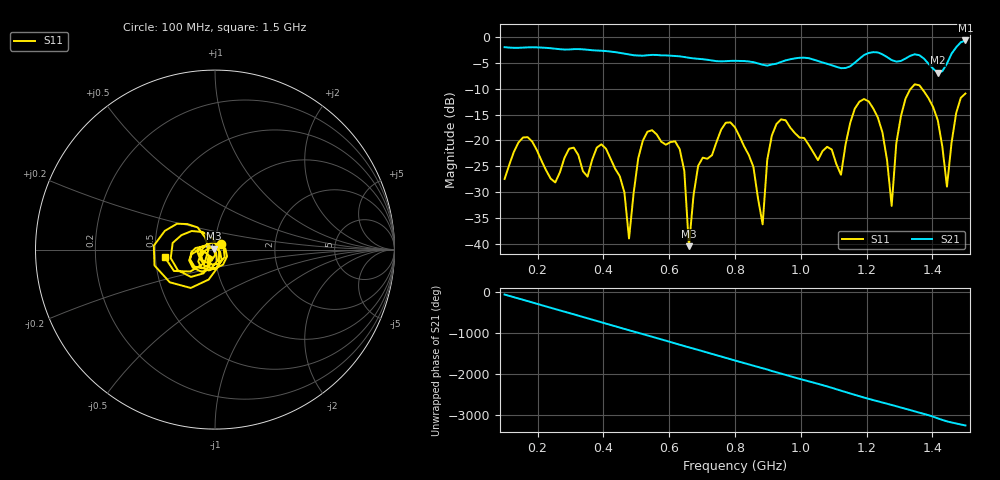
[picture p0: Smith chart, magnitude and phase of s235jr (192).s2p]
! NanoVNA-App
! Date: 2025-09-25 15:05:39
! Start: 100MHz Stop: 1,5GHz Points: 101
! S-Parameter data: F S11 S21 S12 S22
# Hz S RI R 50
!  Frequency  S11_Real  S11_Imag  S21_Real  S21_Imag  S12_Real  S12_Imag  S22_Real  S22_Imag
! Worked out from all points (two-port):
!   101 points, 100 MHz to 1.5 GHz, reference 50 ohm
!   highest |S21| = -0.66 dB at 1.5 GHz (marker M1); lowest = -6.9 dB at 1.416 GHz (marker M2)
!   |S21| within 3 dB of the highest: start of sweep to 616.4 MHz; 1.189 GHz to 1.256 GHz (67.67 MHz wide, 5.54 % of centre) (the widest 2 of 4)
!   lowest |S11| = -40.5 dB at 660 MHz (marker M3), VSWR 1.02, Z = 49.3 + j0.585 ohm
!   |S11| at or under -10 dB: start of sweep to 1.334 GHz; 1.368 GHz to end of sweep
!   S12 and S22 are empty: the file has one direction only
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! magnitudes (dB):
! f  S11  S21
! 100 MHz  -27.5  -2.0
! 156 MHz  -19.4  -2.0
! 338 MHz  -26.0  -2.4
! 408 MHz  -21.6  -2.7
! 478 MHz  -39.0  -3.4
! 520 MHz  -20.0  -3.6
! 576 MHz  -20.3  -3.5
! 632 MHz  -21.7  -3.7
! 660 MHz  -40.5  -4.0
! 688 MHz  -24.9  -4.2
! 800 MHz  -17.5  -4.6
! 884 MHz  -36.3  -5.4
! 926 MHz  -16.8  -5.2
! 1.038 GHz  -22.3  -4.4
! 1.122 GHz  -26.7  -6.0
! 1.206 GHz  -12.4  -3.1
! 1.276 GHz  -32.7  -4.5
! 1.29 GHz  -20.6  -4.7
! 1.332 GHz  -10.1  -3.6
! 1.416 GHz  -16.1  -6.9
! 1.444 GHz  -29.0  -5.1
! 1.5 GHz  -10.9  -0.7
